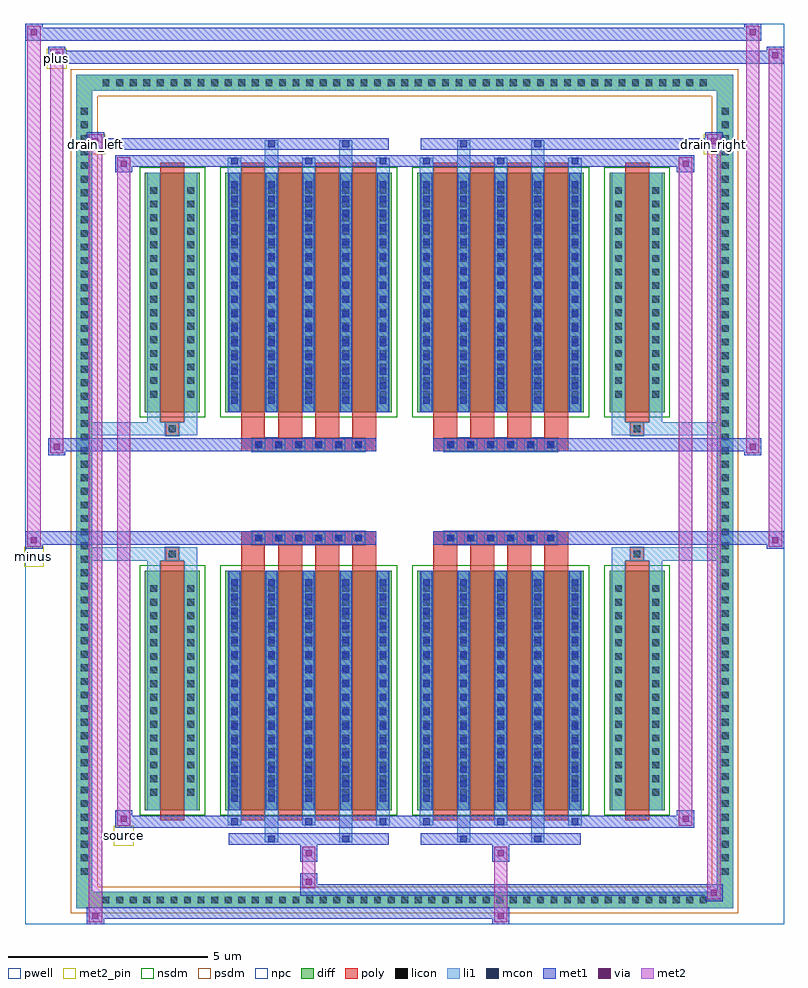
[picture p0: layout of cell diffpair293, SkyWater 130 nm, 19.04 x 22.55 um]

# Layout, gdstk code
import gdstk
lib = gdstk.Library(unit=1e-6, precision=5e-09)
def R(c, l, rs):  # rectangles x0, y0, x1, y1
    for r in rs: c.add(gdstk.rectangle(r[:2], r[2:], *l))
def A(c, l, x, y, w, h, nx, ny, dx, dy):  # array of equal rectangles
    R(c, l, [(x+i*dx, y+j*dy, x+i*dx+w, y+j*dy+h) for i in range(nx) for j in range(ny)])
def P(c, l, *ps):  # polygons
    for p in ps: c.add(gdstk.Polygon(p, *l))
pwell = (64, 44)
diff = (65, 20)
poly = (66, 20)
licon = (66, 44)
li1 = (67, 20)
mcon = (67, 44)
met1 = (68, 20)
via = (68, 44)
met2_pin = (69, 16)
met2 = (69, 20)
nsdm = (93, 44)
psdm = (94, 20)
npc = (95, 20)

diffpair293 = lib.new_cell('diffpair293')
R(diffpair293, pwell, [(-9.5,-10.84,9.5,11.71), (-6.82,-9.03,-0.01,-0.805), (0.01,-9.03,6.82,-0.805), (-6.82,0.805,-0.01,9.03), (0.01,0.805,6.82,9.03)])
A(diffpair293, diff, -7.685, -10.44, 0.41, 0.41, 45, 2, 0.34, 20.47)
A(diffpair293, diff, -8.23, -9.725, 0.41, 0.41, 1, 57, 0, 0.34)
A(diffpair293, diff, 7.82, -9.725, 0.41, 0.41, 1, 57, 0, 0.34)
R(diffpair293, diff, [(-7.685,-10.44,7.685,-10.03), (-8.23,-9.725,-7.82,9.725), (7.82,-9.725,8.23,9.725), (-6.51,-7.985,-5.13,-1.985), (-4.49,-7.985,-0.32,-1.985), (0.32,-7.985,4.49,-1.985), (5.13,-7.985,6.51,-1.985), (-6.51,1.985,-5.13,7.985), (-4.49,1.985,-0.32,7.985), (0.32,1.985,4.49,7.985), (5.13,1.985,6.51,7.985), (-7.685,10.03,7.685,10.44)])
P(diffpair293, diff, [(8.23,10.44),(-8.23,10.44),(-8.23,-10.03),(-7.82,-10.03),(-7.82,10.03),(7.82,10.03),(7.82,-10.03),(-7.82,-10.03),(-8.23,-10.03),(-8.23,-10.44),(8.23,-10.44)])
A(diffpair293, poly, -4.1, -8.235, 0.6, 6.5, 4, 2, 0.93, 9.97)
A(diffpair293, poly, 0.71, -8.235, 0.6, 6.5, 4, 2, 0.93, 9.97)
A(diffpair293, poly, -4.1, -1.735, 0.6, 0.4, 4, 2, 0.93, 3.07)
A(diffpair293, poly, 0.71, -1.735, 0.6, 0.4, 4, 2, 0.93, 3.07)
A(diffpair293, poly, -3.82, -1.335, 0.33, 0.33, 6, 2, 0.5, 2.34)
A(diffpair293, poly, 0.99, -1.335, 0.33, 0.33, 6, 2, 0.5, 2.34)
R(diffpair293, poly, [(-6.12,-8.235,-5.52,-1.735), (5.52,-8.235,6.12,-1.735), (-5.985,-1.735,-5.655,-1.405), (-5.985,-1.735,-5.655,-1.405), (5.655,-1.735,5.985,-1.405), (5.655,-1.735,5.985,-1.405), (-4.1,-1.335,-0.71,-1.005), (0.71,-1.335,4.1,-1.005), (-4.1,1.005,-0.71,1.335), (0.71,1.005,4.1,1.335), (-5.985,1.405,-5.655,1.735), (-5.985,1.405,-5.655,1.735), (5.655,1.405,5.985,1.735), (5.655,1.405,5.985,1.735), (-6.12,1.735,-5.52,8.235), (5.52,1.735,6.12,8.235)])
A(diffpair293, licon, -7.565, -10.32, 0.17, 0.17, 45, 2, 0.34, 20.47)
A(diffpair293, licon, -8.11, -9.605, 0.17, 0.17, 1, 57, 0, 0.34)
A(diffpair293, licon, 7.94, -9.605, 0.17, 0.17, 1, 57, 0, 0.34)
A(diffpair293, licon, -6.37, -7.62, 0.17, 0.17, 1, 16, 0, 0.34)
A(diffpair293, licon, -5.44, -7.62, 0.17, 0.17, 1, 16, 0, 0.34)
A(diffpair293, licon, -4.35, -7.62, 0.17, 0.17, 5, 16, 0.93, 0.34)
A(diffpair293, licon, 0.46, -7.62, 0.17, 0.17, 5, 16, 0.93, 0.34)
A(diffpair293, licon, 5.27, -7.62, 0.17, 0.17, 1, 16, 0, 0.34)
A(diffpair293, licon, 6.2, -7.62, 0.17, 0.17, 1, 16, 0, 0.34)
A(diffpair293, licon, -3.74, -1.255, 0.17, 0.17, 6, 2, 0.5, 2.34)
A(diffpair293, licon, 1.07, -1.255, 0.17, 0.17, 6, 2, 0.5, 2.34)
A(diffpair293, licon, -6.37, 2.35, 0.17, 0.17, 1, 16, 0, 0.34)
A(diffpair293, licon, -5.44, 2.35, 0.17, 0.17, 1, 16, 0, 0.34)
A(diffpair293, licon, -4.35, 2.35, 0.17, 0.17, 5, 16, 0.93, 0.34)
A(diffpair293, licon, 0.46, 2.35, 0.17, 0.17, 5, 16, 0.93, 0.34)
A(diffpair293, licon, 5.27, 2.35, 0.17, 0.17, 1, 16, 0, 0.34)
A(diffpair293, licon, 6.2, 2.35, 0.17, 0.17, 1, 16, 0, 0.34)
R(diffpair293, licon, [(-5.905,-1.655,-5.735,-1.485), (5.735,-1.655,5.905,-1.485), (-5.905,1.485,-5.735,1.655), (5.735,1.485,5.905,1.655)])
A(diffpair293, li1, -7.645, -10.4, 0.33, 0.33, 45, 2, 0.34, 20.47)
A(diffpair293, li1, -8.19, -9.685, 0.33, 0.33, 1, 57, 0, 0.34)
A(diffpair293, li1, 7.86, -9.685, 0.33, 0.33, 1, 57, 0, 0.34)
A(diffpair293, li1, -4.43, -8.36, 0.33, 0.375, 3, 2, 1.86, 16.345)
A(diffpair293, li1, -4.35, -8.36, 0.17, 0.17, 3, 2, 1.86, 16.55)
A(diffpair293, li1, 0.38, -8.36, 0.33, 0.375, 3, 2, 1.86, 16.345)
A(diffpair293, li1, 0.46, -8.36, 0.17, 0.17, 3, 2, 1.86, 16.55)
A(diffpair293, li1, -4.43, -7.985, 0.33, 6, 5, 2, 0.93, 9.97)
A(diffpair293, li1, 0.38, -7.985, 0.33, 6, 5, 2, 0.93, 9.97)
A(diffpair293, li1, -4.35, -7.77, 0.17, 0.17, 5, 16, 0.93, 0.36)
A(diffpair293, li1, -4.35, -7.77, 0.17, 5.57, 5, 2, 0.93, 9.97)
A(diffpair293, li1, 0.46, -7.77, 0.17, 0.17, 5, 16, 0.93, 0.36)
A(diffpair293, li1, 0.46, -7.77, 0.17, 5.57, 5, 2, 0.93, 9.97)
A(diffpair293, li1, -6.45, -7.7, 0.33, 0.33, 1, 16, 0, 0.34)
A(diffpair293, li1, -5.52, -7.7, 0.33, 0.33, 1, 16, 0, 0.34)
A(diffpair293, li1, -4.43, -7.7, 0.33, 0.33, 5, 16, 0.93, 0.34)
A(diffpair293, li1, 0.38, -7.7, 0.33, 0.33, 5, 16, 0.93, 0.34)
A(diffpair293, li1, 5.19, -7.7, 0.33, 0.33, 1, 16, 0, 0.34)
A(diffpair293, li1, 6.12, -7.7, 0.33, 0.33, 1, 16, 0, 0.34)
A(diffpair293, li1, -3.82, -1.335, 0.33, 0.33, 6, 2, 0.5, 2.34)
A(diffpair293, li1, 0.99, -1.335, 0.33, 0.33, 6, 2, 0.5, 2.34)
A(diffpair293, li1, -4.35, 2.2, 0.17, 0.17, 5, 16, 0.93, 0.36)
A(diffpair293, li1, 0.46, 2.2, 0.17, 0.17, 5, 16, 0.93, 0.36)
A(diffpair293, li1, -6.45, 2.27, 0.33, 0.33, 1, 16, 0, 0.34)
A(diffpair293, li1, -5.52, 2.27, 0.33, 0.33, 1, 16, 0, 0.34)
A(diffpair293, li1, -4.43, 2.27, 0.33, 0.33, 5, 16, 0.93, 0.34)
A(diffpair293, li1, 0.38, 2.27, 0.33, 0.33, 5, 16, 0.93, 0.34)
A(diffpair293, li1, 5.19, 2.27, 0.33, 0.33, 1, 16, 0, 0.34)
A(diffpair293, li1, 6.12, 2.27, 0.33, 0.33, 1, 16, 0, 0.34)
R(diffpair293, li1, [(-8.23,-10.44,-7.82,-10.03), (-8.23,-10.44,-7.82,-10.03), (-7.82,-10.44,7.82,-10.03), (7.82,-10.44,8.23,-10.03), (7.82,-10.44,8.23,-10.03), (-8.23,-10.03,-7.82,10.03), (7.82,-10.03,8.23,10.03), (-3.5,-8.79,-3.17,-7.985), (-3.42,-8.79,-3.25,-8.62), (-1.64,-8.79,-1.31,-7.985), (-1.56,-8.79,-1.39,-8.62), (1.31,-8.79,1.64,-7.985), (1.39,-8.79,1.56,-8.62), (3.17,-8.79,3.5,-7.985), (3.25,-8.79,3.42,-8.62), (-6.45,-7.985,-6.12,-1.985), (-5.52,-7.985,-5.19,-1.985), (5.19,-7.985,5.52,-1.985), (6.12,-7.985,6.45,-1.985), (-6.45,-1.985,-6.12,-1.405), (-5.52,-1.985,-5.19,-1.405), (5.19,-1.985,5.52,-1.405), (6.12,-1.985,6.45,-1.405), (-8.23,-1.735,-5.985,-1.405), (-6.45,-1.735,-5.985,-1.405), (-5.985,-1.735,-5.655,-1.405), (-5.655,-1.735,-5.19,-1.405), (5.19,-1.735,5.655,-1.405), (5.655,-1.735,5.985,-1.405), (5.655,-1.735,8.23,-1.405), (5.985,-1.735,6.45,-1.405), (-8.23,1.405,-5.985,1.735), (-6.45,1.405,-5.985,1.735), (-6.45,1.405,-6.12,1.985), (-5.985,1.405,-5.655,1.735), (-5.655,1.405,-5.19,1.735), (-5.52,1.405,-5.19,1.985), (5.19,1.405,5.655,1.735), (5.19,1.405,5.52,1.985), (5.655,1.405,5.985,1.735), (5.655,1.405,8.23,1.735), (5.985,1.405,6.45,1.735), (6.12,1.405,6.45,1.985), (-6.45,1.985,-6.12,7.985), (-5.52,1.985,-5.19,7.985), (5.19,1.985,5.52,7.985), (6.12,1.985,6.45,7.985), (-3.5,7.985,-3.17,8.79), (-1.64,7.985,-1.31,8.79), (1.31,7.985,1.64,8.79), (3.17,7.985,3.5,8.79), (-3.42,8.62,-3.25,8.79), (-1.56,8.62,-1.39,8.79), (1.39,8.62,1.56,8.79), (3.25,8.62,3.42,8.79), (-8.23,10.03,-7.82,10.44), (-8.23,10.03,-7.82,10.44), (-7.82,10.03,7.82,10.44), (7.82,10.03,8.23,10.44), (7.82,10.03,8.23,10.44)])
A(diffpair293, mcon, -4.35, -8.36, 0.17, 0.17, 3, 2, 1.86, 16.55)
A(diffpair293, mcon, 0.46, -8.36, 0.17, 0.17, 3, 2, 1.86, 16.55)
A(diffpair293, mcon, -4.35, -7.77, 0.17, 0.17, 5, 16, 0.93, 0.36)
A(diffpair293, mcon, 0.46, -7.77, 0.17, 0.17, 5, 16, 0.93, 0.36)
A(diffpair293, mcon, -3.74, -1.255, 0.17, 0.17, 6, 2, 0.5, 2.34)
A(diffpair293, mcon, 1.07, -1.255, 0.17, 0.17, 6, 2, 0.5, 2.34)
A(diffpair293, mcon, -4.35, 2.2, 0.17, 0.17, 5, 16, 0.93, 0.36)
A(diffpair293, mcon, 0.46, 2.2, 0.17, 0.17, 5, 16, 0.93, 0.36)
R(diffpair293, mcon, [(-3.42,-8.79,-3.25,-8.62), (-1.56,-8.79,-1.39,-8.62), (1.39,-8.79,1.56,-8.62), (3.25,-8.79,3.42,-8.62), (-3.42,8.62,-3.25,8.79), (-1.56,8.62,-1.39,8.79), (1.39,8.62,1.56,8.79), (3.25,8.62,3.42,8.79)])
A(diffpair293, met1, -4.41, -8.42, 0.29, 0.29, 3, 2, 1.86, 16.55)
A(diffpair293, met1, 0.4, -8.42, 0.29, 0.29, 3, 2, 1.86, 16.55)
A(diffpair293, met1, -4.41, -7.985, 0.29, 6, 5, 2, 0.93, 9.97)
A(diffpair293, met1, 0.4, -7.985, 0.29, 6, 5, 2, 0.93, 9.97)
A(diffpair293, met1, -4.41, -7.83, 0.29, 0.29, 5, 16, 0.93, 0.36)
A(diffpair293, met1, 0.4, -7.83, 0.29, 0.29, 5, 16, 0.93, 0.36)
A(diffpair293, met1, -3.8, -1.315, 0.29, 0.29, 6, 2, 0.5, 2.34)
A(diffpair293, met1, 1.01, -1.315, 0.29, 0.29, 6, 2, 0.5, 2.34)
A(diffpair293, met1, -4.41, 2.14, 0.29, 0.29, 5, 16, 0.93, 0.36)
A(diffpair293, met1, 0.4, 2.14, 0.29, 0.29, 5, 16, 0.93, 0.36)
R(diffpair293, met1, [(-7.96,-10.84,-7.53,-10.41), (2.19,-10.84,2.62,-10.41), (-7.96,-10.7,2.62,-10.41), (7.53,-10.27,7.96,-9.84), (-2.62,-10.13,7.96,-9.84), (-2.62,-9.99,-2.19,-9.56), (-2.62,-9.28,-2.19,-8.85), (2.19,-9.28,2.62,-8.85), (-4.41,-8.85,-0.4,-8.56), (-3.48,-8.85,-3.19,-8.56), (-1.62,-8.85,-1.33,-8.56), (0.4,-8.85,4.41,-8.56), (1.33,-8.85,1.62,-8.56), (3.19,-8.85,3.48,-8.56), (-7.25,-8.42,-6.82,-7.99), (-7.25,-8.42,-4.41,-8.13), (-4.41,-8.42,-0.4,-8.13), (-0.4,-8.42,0.4,-8.13), (0.4,-8.42,4.41,-8.13), (4.41,-8.42,7.25,-8.13), (6.82,-8.42,7.25,-7.99), (-9.5,-1.435,-9.07,-1.005), (9.07,-1.435,9.5,-1.005), (-9.5,-1.335,-0.71,-1.005), (-4.1,-1.335,-0.71,-1.005), (0.71,-1.335,4.1,-1.005), (0.71,-1.335,9.5,-1.005), (-8.93,0.905,-8.5,1.335), (8.5,0.905,8.93,1.335), (-8.93,1.005,-4.1,1.335), (-4.1,1.005,-0.71,1.335), (0.71,1.005,4.1,1.335), (4.1,1.005,8.93,1.335), (-7.25,7.99,-6.82,8.42), (6.82,7.99,7.25,8.42), (-7.25,8.13,-4.41,8.42), (-4.41,8.13,-0.4,8.42), (-0.4,8.13,0.4,8.42), (0.4,8.13,4.41,8.42), (4.41,8.13,7.25,8.42), (-7.96,8.56,-7.53,8.99), (-7.96,8.56,-4.41,8.85), (-4.41,8.56,-0.4,8.85), (-3.48,8.56,-3.19,8.85), (-1.62,8.56,-1.33,8.85), (0.4,8.56,4.41,8.85), (1.33,8.56,1.62,8.85), (3.19,8.56,3.48,8.85), (4.41,8.56,7.96,8.85), (7.53,8.56,7.96,8.99), (-8.93,10.71,-8.5,11.14), (-8.93,10.71,-6.82,11.04), (-6.82,10.71,6.82,11.04), (6.82,10.71,9.5,11.04), (9.07,10.71,9.5,11.14), (-9.5,11.28,-9.07,11.71), (-9.5,11.28,-6.82,11.61), (-6.82,11.28,6.82,11.61), (6.82,11.28,8.93,11.61), (8.5,11.28,8.93,11.71)])
R(diffpair293, via, [(-7.82,-10.7,-7.67,-10.55), (2.33,-10.7,2.48,-10.55), (7.67,-10.13,7.82,-9.98), (-2.48,-9.85,-2.33,-9.7), (-2.48,-9.14,-2.33,-8.99), (2.33,-9.14,2.48,-8.99), (-7.11,-8.28,-6.96,-8.13), (6.96,-8.28,7.11,-8.13), (-9.36,-1.295,-9.21,-1.145), (9.21,-1.295,9.36,-1.145), (-8.79,1.045,-8.64,1.195), (8.64,1.045,8.79,1.195), (-7.11,8.13,-6.96,8.28), (6.96,8.13,7.11,8.28), (-7.82,8.7,-7.67,8.85), (7.67,8.7,7.82,8.85), (-8.79,10.85,-8.64,11), (9.21,10.85,9.36,11), (-9.36,11.42,-9.21,11.57), (8.64,11.42,8.79,11.57)])
R(diffpair293, met2_pin, [(-7.285,-8.87,-6.785,-8.37), (-9.535,-1.885,-9.035,-1.385), (-7.995,8.44,-7.495,8.94), (7.495,8.44,7.995,8.94), (-8.965,10.59,-8.465,11.09)])
R(diffpair293, met2, [(-7.91,-10.79,-7.58,-10.46), (-7.91,-10.79,-7.58,8.94), (2.24,-10.79,2.57,-10.46), (2.24,-10.46,2.57,-9.23), (7.58,-10.22,7.91,-9.89), (7.58,-10.22,7.91,8.94), (-2.57,-9.94,-2.24,-9.61), (-2.57,-9.61,-2.24,-9.23), (-2.57,-9.23,-2.24,-8.9), (2.24,-9.23,2.57,-8.9), (-7.2,-8.37,-6.87,-8.04), (-7.2,-8.37,-6.87,8.37), (6.87,-8.37,7.2,-8.04), (6.87,-8.37,7.2,8.37), (-9.45,-1.385,-9.12,-1.055), (-9.45,-1.385,-9.12,11.66), (9.12,-1.385,9.45,-1.055), (9.12,-1.385,9.45,11.09), (-8.88,0.955,-8.55,1.285), (-8.88,0.955,-8.55,11.09), (8.55,0.955,8.88,1.285), (8.55,0.955,8.88,11.66), (-7.2,8.04,-6.87,8.37), (6.87,8.04,7.2,8.37), (-7.91,8.61,-7.58,8.94), (7.58,8.61,7.91,8.94), (-8.88,10.76,-8.55,11.09), (9.12,10.76,9.45,11.09), (-9.45,11.33,-9.12,11.66), (8.55,11.33,8.88,11.66)])
P(diffpair293, met2, [(9.45,-1.385),(9.45,-1.385),(9.45,-1.055),(9.45,-1.055)],
  [(9.45,10.76),(9.45,10.76),(9.45,11.09),(9.45,11.09)],
  [(-9.12,-1.385),(-9.12,-1.385),(-9.12,-1.055),(-9.12,-1.055)],
  [(-9.12,11.33),(-9.12,11.33),(-9.12,11.66),(-9.12,11.66)],
  [(8.88,0.955),(8.88,0.955),(8.88,1.285),(8.88,1.285)],
  [(8.88,11.33),(8.88,11.33),(8.88,11.66),(8.88,11.66)],
  [(-8.55,0.955),(-8.55,0.955),(-8.55,1.285),(-8.55,1.285)],
  [(-8.55,10.76),(-8.55,10.76),(-8.55,11.09),(-8.55,11.09)],
  [(-7.58,-10.79),(-7.58,-10.79),(-7.58,-10.46),(-7.58,-10.46)],
  [(-7.58,8.61),(-7.58,8.61),(-7.58,8.94),(-7.58,8.94)],
  [(7.91,-10.22),(7.91,-10.22),(7.91,-9.89),(7.91,-9.89)],
  [(7.91,8.61),(7.91,8.61),(7.91,8.94),(7.91,8.94)],
  [(-6.87,-8.37),(-6.87,-8.37),(-6.87,-8.04),(-6.87,-8.04)],
  [(-6.87,8.04),(-6.87,8.04),(-6.87,8.37),(-6.87,8.37)],
  [(7.2,-8.37),(7.2,-8.37),(7.2,-8.04),(7.2,-8.04)],
  [(7.2,8.04),(7.2,8.04),(7.2,8.37),(7.2,8.37)])
R(diffpair293, nsdm, [(-6.64,-8.115,-5,-1.855), (-4.62,-8.115,-0.19,-1.855), (0.19,-8.115,4.62,-1.855), (5,-8.115,6.64,-1.855), (-6.64,1.855,-5,8.115), (-4.62,1.855,-0.19,8.115), (0.19,1.855,4.62,8.115), (5,1.855,6.64,8.115)])
P(diffpair293, psdm, [(8.36,10.57),(-8.36,10.57),(-8.36,-9.9),(-7.69,-9.9),(-7.69,9.9),(7.69,9.9),(7.69,-9.9),(-7.69,-9.9),(-8.36,-9.9),(-8.36,-10.57),(8.36,-10.57)])
A(diffpair293, npc, -3.84, -1.355, 0.37, 0.37, 6, 2, 0.5, 2.34)
A(diffpair293, npc, 0.97, -1.355, 0.37, 0.37, 6, 2, 0.5, 2.34)
R(diffpair293, npc, [(-6.005,-1.755,-5.635,-1.385), (5.635,-1.755,6.005,-1.385), (-3.84,-1.355,-2.97,-0.985), (-3.84,-1.355,-2.97,-0.985), (-3.34,-1.355,-2.47,-0.985), (-3.34,-1.355,-2.47,-0.985), (-2.84,-1.355,-1.97,-0.985), (-2.84,-1.355,-1.97,-0.985), (-2.34,-1.355,-1.47,-0.985), (-2.34,-1.355,-1.47,-0.985), (-1.84,-1.355,-0.97,-0.985), (-1.84,-1.355,-0.97,-0.985), (0.97,-1.355,1.84,-0.985), (0.97,-1.355,1.84,-0.985), (1.47,-1.355,2.34,-0.985), (1.47,-1.355,2.34,-0.985), (1.97,-1.355,2.84,-0.985), (1.97,-1.355,2.84,-0.985), (2.47,-1.355,3.34,-0.985), (2.47,-1.355,3.34,-0.985), (2.97,-1.355,3.84,-0.985), (2.97,-1.355,3.84,-0.985), (-3.84,0.985,-2.97,1.355), (-3.84,0.985,-2.97,1.355), (-3.34,0.985,-2.47,1.355), (-3.34,0.985,-2.47,1.355), (-2.84,0.985,-1.97,1.355), (-2.84,0.985,-1.97,1.355), (-2.34,0.985,-1.47,1.355), (-2.34,0.985,-1.47,1.355), (-1.84,0.985,-0.97,1.355), (-1.84,0.985,-0.97,1.355), (0.97,0.985,1.84,1.355), (0.97,0.985,1.84,1.355), (1.47,0.985,2.34,1.355), (1.47,0.985,2.34,1.355), (1.97,0.985,2.84,1.355), (1.97,0.985,2.84,1.355), (2.47,0.985,3.34,1.355), (2.47,0.985,3.34,1.355), (2.97,0.985,3.84,1.355), (2.97,0.985,3.84,1.355), (-6.005,1.385,-5.635,1.755), (5.635,1.385,6.005,1.755)])
diffpair293.add(gdstk.Label('minus', (-9.285,-1.635), layer=69, texttype=5))
diffpair293.add(gdstk.Label('drain_right', (7.745,8.69), layer=69, texttype=5))
diffpair293.add(gdstk.Label('drain_left', (-7.745,8.69), layer=69, texttype=5))
diffpair293.add(gdstk.Label('source', (-7.035,-8.62), layer=69, texttype=5))
diffpair293.add(gdstk.Label('plus', (-8.715,10.84), layer=69, texttype=5))

lib.write_gds('diffpair293.gds')
